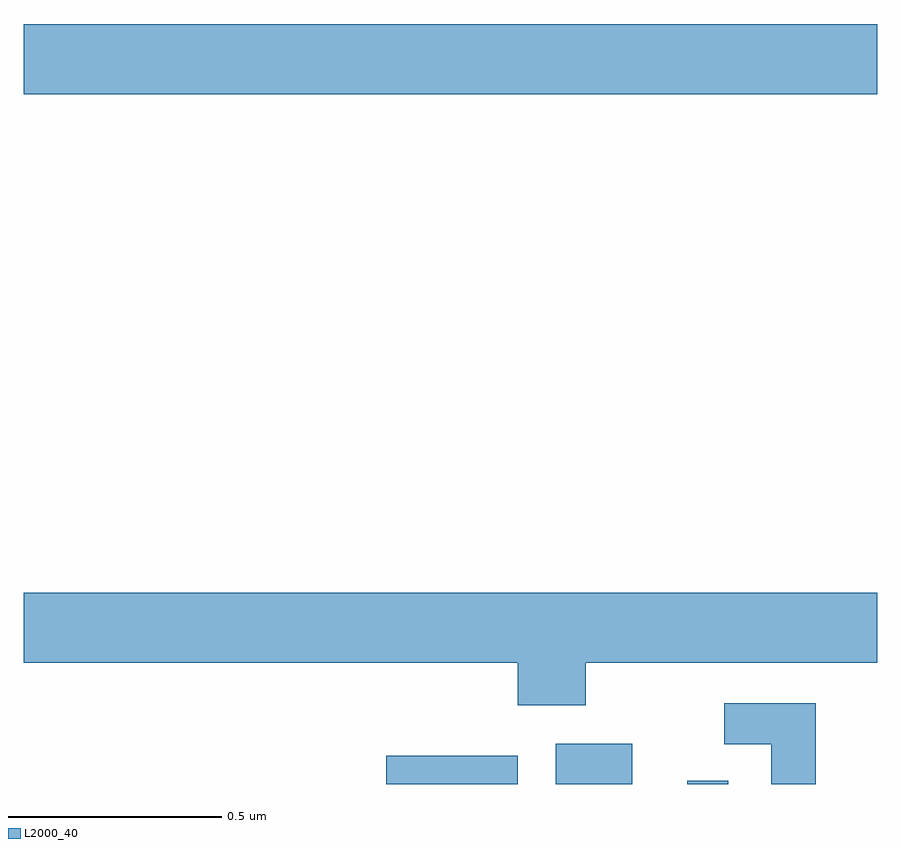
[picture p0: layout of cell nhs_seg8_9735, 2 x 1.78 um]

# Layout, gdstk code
import gdstk
lib = gdstk.Library(unit=1e-6, precision=1e-09)
def R(c, l, rs):  # rectangles x0, y0, x1, y1
    for r in rs: c.add(gdstk.rectangle(r[:2], r[2:], *l))
def P(c, l, *ps):  # polygons
    for p in ps: c.add(gdstk.Polygon(p, *l))
L2000_40 = (2000, 40)

nhs_seg8_9735 = lib.new_cell('nhs_seg8_9735')
R(nhs_seg8_9735, L2000_40, [(240.849,1098.9,241.158,1098.966), (241.247,1098.9,241.426,1098.994), (241.554,1098.9,241.65,1098.908), (240,1100.516,242,1100.68)])
P(nhs_seg8_9735, L2000_40, [(241.317,1099.184),(242,1099.184),(242,1099.348),(240,1099.348),(240,1099.184),(241.157,1099.184),(241.157,1099.085),(241.317,1099.085)],
  [(241.855,1099.089),(241.641,1099.089),(241.641,1098.993),(241.751,1098.993),(241.751,1098.9),(241.855,1098.9)])

lib.write_gds('nhs_seg8_9735.gds')
